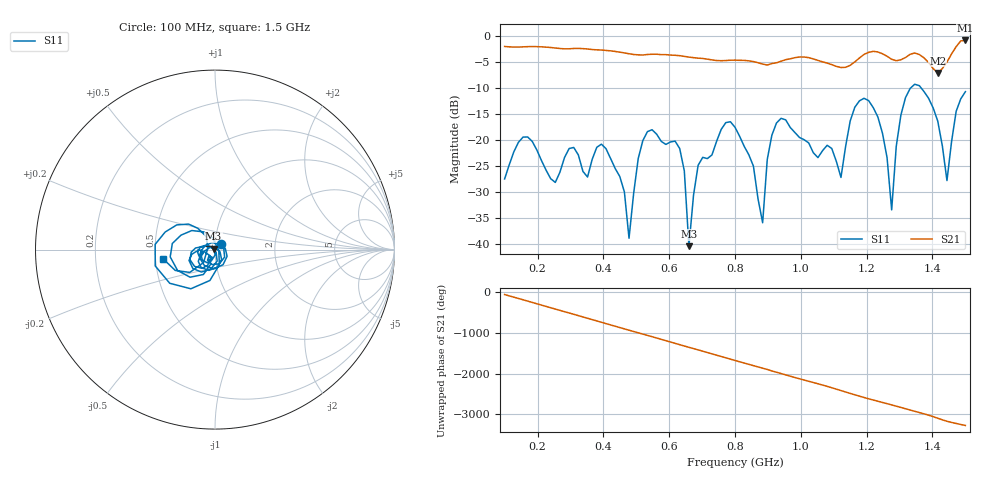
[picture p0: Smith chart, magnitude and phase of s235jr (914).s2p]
! NanoVNA-App
! Date: 2025-09-25 15:11:17
! Start: 100MHz Stop: 1,5GHz Points: 101
! S-Parameter data: F S11 S21 S12 S22
# Hz S RI R 50
!  Frequency  S11_Real  S11_Imag  S21_Real  S21_Imag  S12_Real  S12_Imag  S22_Real  S22_Imag
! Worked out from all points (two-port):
!   101 points, 100 MHz to 1.5 GHz, reference 50 ohm
!   highest |S21| = -0.81 dB at 1.5 GHz (marker M1); lowest = -7.1 dB at 1.416 GHz (marker M2)
!   |S21| within 3 dB of the highest: start of sweep to 639.3 MHz; 1.186 GHz to 1.261 GHz (75.29 MHz wide, 6.15 % of centre) (the widest 2 of 4)
!   lowest |S11| = -40.4 dB at 660 MHz (marker M3), VSWR 1.02, Z = 49.2 + j0.545 ohm
!   |S11| at or under -10 dB: start of sweep to 1.333 GHz; 1.366 GHz to end of sweep
!   S12 and S22 are empty: the file has one direction only
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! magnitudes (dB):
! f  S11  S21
! 100 MHz  -27.5  -2.0
! 156 MHz  -19.4  -2.0
! 338 MHz  -26.0  -2.4
! 408 MHz  -21.6  -2.7
! 478 MHz  -38.9  -3.4
! 520 MHz  -20.1  -3.6
! 576 MHz  -20.2  -3.5
! 632 MHz  -21.6  -3.7
! 660 MHz  -40.4  -4.0
! 688 MHz  -24.8  -4.2
! 800 MHz  -17.5  -4.6
! 884 MHz  -35.9  -5.4
! 926 MHz  -16.7  -5.1
! 1.038 GHz  -22.4  -4.4
! 1.122 GHz  -27.2  -6.0
! 1.206 GHz  -12.4  -3.1
! 1.276 GHz  -33.4  -4.4
! 1.304 GHz  -15.2  -4.5
! 1.332 GHz  -10.1  -3.5
! 1.416 GHz  -16.3  -7.1
! 1.444 GHz  -27.8  -5.0
! 1.5 GHz  -10.7  -0.8
